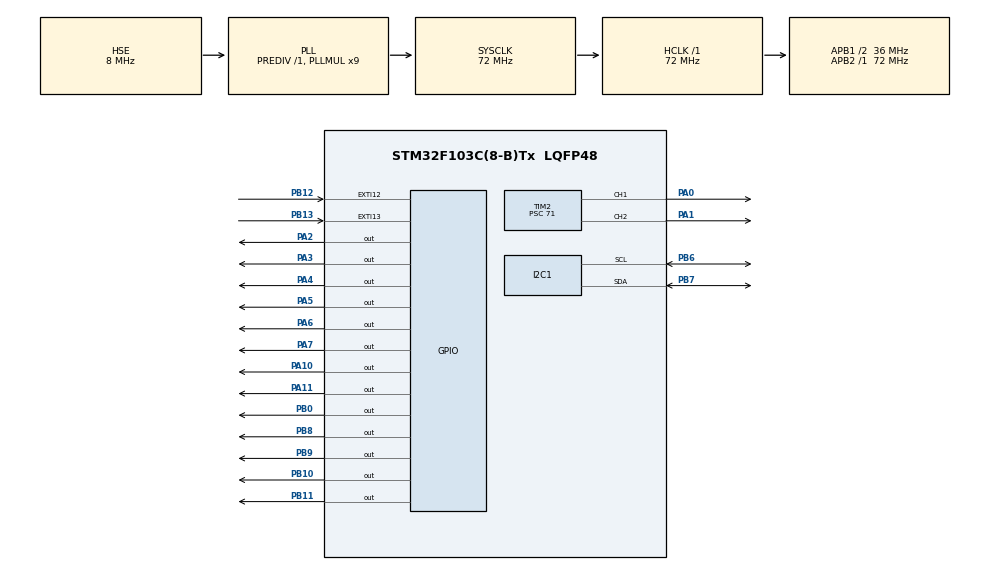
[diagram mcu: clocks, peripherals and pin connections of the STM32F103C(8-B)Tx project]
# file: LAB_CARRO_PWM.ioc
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Mcu.Family=STM32F1
Mcu.Name=STM32F103C(8-B)Tx
Mcu.Package=LQFP48
NVIC.EXTI15_10_IRQn=true\:0\:0\:false\:false\:true\:true\:true\:true
NVIC.PriorityGroup=NVIC_PRIORITYGROUP_4
PA0-WKUP.Signal=S_TIM2_CH1_ETR
PA1.Signal=S_TIM2_CH2
PA10.Signal=GPIO_Output
PA11.Signal=GPIO_Output
PA13.Mode=Serial_Wire
PA13.Signal=SYS_JTMS-SWDIO
PA14.Mode=Serial_Wire
PA14.Signal=SYS_JTCK-SWCLK
PA2.Signal=GPIO_Output
PA3.Signal=GPIO_Output
PA4.Signal=GPIO_Output
PA5.Signal=GPIO_Output
PA6.Signal=GPIO_Output
PA7.Signal=GPIO_Output
PB0.Signal=GPIO_Output
PB10.Signal=GPIO_Output
PB11.Signal=GPIO_Output
PB12.Signal=GPXTI12
PB13.Signal=GPXTI13
PB6.Mode=I2C
PB6.Signal=I2C1_SCL
PB7.Mode=I2C
PB7.Signal=I2C1_SDA
PB8.Signal=GPIO_Output
PB9.Signal=GPIO_Output
PD0-OSC_IN.Mode=HSE-External-Oscillator
PD0-OSC_IN.Signal=RCC_OSC_IN
PD1-OSC_OUT.Mode=HSE-External-Oscillator
PD1-OSC_OUT.Signal=RCC_OSC_OUT
ProjectManager.HeapSize=0x200
ProjectManager.StackSize=0x400
ProjectManager.TargetToolchain=STM32CubeIDE
RCC.AHBFreq_Value=72000000
RCC.APB1CLKDivider=RCC_HCLK_DIV2
RCC.APB1Freq_Value=36000000
RCC.APB1TimFreq_Value=72000000
RCC.APB2Freq_Value=72000000
RCC.APB2TimFreq_Value=72000000
RCC.HCLKFreq_Value=72000000
RCC.PLLMUL=RCC_PLL_MUL9
RCC.PLLSourceVirtual=RCC_PLLSOURCE_HSE
RCC.SYSCLKFreq_VALUE=72000000
RCC.SYSCLKSource=RCC_SYSCLKSOURCE_PLLCLK
RCC.USBFreq_Value=72000000
SH.S_TIM2_CH1_ETR.0=TIM2_CH1,PWM Generation1 CH1
SH.S_TIM2_CH2.0=TIM2_CH2,PWM Generation2 CH2
TIM2.Channel-PWM\ Generation1\ CH1=TIM_CHANNEL_1
TIM2.Channel-PWM\ Generation2\ CH2=TIM_CHANNEL_2
TIM2.Period=799
TIM2.Prescaler=71
VP_TIM2_VS_ClockSourceINT.Mode=Internal
board=custom

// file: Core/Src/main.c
/* USER CODE BEGIN Header */
/**
  ******************************************************************************
  * @file           : main.c
  * @brief          : Navegador autónomo de polígonos regulares
  *                   Avance por ENCODER + corrección MPU + Giro MPU
  *                   ANTICIPO ajustado para 90° exactos.
  *                   Encoder verifica el giro como sanity check.
  * Microcontrolador: STM32F103C8T6 @ 72 MHz
  ******************************************************************************
  */
/* USER CODE END Header */

#include "main.h"

/* USER CODE BEGIN Includes */
#include <stdio.h>
#include <string.h>
#include <math.h>
/* USER CODE END Includes */

/* USER CODE BEGIN PD */
// ============================================================================
// ★★★ PARÁMETROS CONFIGURABLES ★★★
// ============================================================================
#define N_LADOS          3          /* 3=triángulo, 4=cuadrado, 5=pentágono */
#define DISTANCIA_CM     50.0f      /* Longitud de cada lado en cm */
#define N_VUELTAS        2          /* Repeticiones del polígono */

// ============================================================================
// CALIBRACIÓN DEL ENCODER  →  ¡AJUSTAR ESTA LÍNEA!
// ============================================================================
// Pulsos que cuenta una rueda por cada centímetro recorrido.
// Calibración: corre el robot 1 vez. En la LCD verás "Pulsos: NNN" al terminar.
// Luego:  PULSOS_POR_CM = pulsos_contados / DISTANCIA_CM
#define PULSOS_POR_CM    2.0f

// ============================================================================
// PARÁMETROS INTERNOS
// ============================================================================
#define ANGULO_GIRO      (360.0f / (float)N_LADOS)

// --- Avance ---
#define VELOCIDAD_BASE   500
#define MAX_PWM          799
#define RAMPA_PASO_PWM   25
#define PAUSA_ENTRE_ACCIONES_MS  300U

// --- Corrección de rumbo durante el avance (MPU) ---
#define KP_LINEA_RECTA       3.0f
#define CORRECCION_MAX       80

// --- Safety: si el encoder no cuenta nada, salir por tiempo ---
#define TIMEOUT_AVANCE_FACTOR  1.5f
#define MS_POR_CM_REF          40U

// --- Giro (ambas ruedas opuestas + kick) ---
#define PWM_GIRO         240
#define PWM_GIRO_KICK    350
#define MS_GIRO_KICK     80U
#define ANTICIPO_GIRO_DEG 3.0f
#define TIMEOUT_GIRO_MS  5000U

// --- Verificación del giro con encoder ---
#define MIN_PULSOS_GIRO  8

// --- MPU6050 ---
#define MPU6050_ADDR            (0x68 << 1)
#define MPU6050_REG_WHOAMI      0x75
#define MPU6050_REG_PWR_MGMT1   0x6B
#define MPU6050_REG_CONFIG      0x1A
#define MPU6050_REG_GYRO_CFG    0x1B
#define MPU6050_REG_GYRO_ZOUT_H 0x47
#define GYRO_SENS_131           131.0f

#define LCD_REFRESH_MS   250U
/* USER CODE END PD */

I2C_HandleTypeDef hi2c1;
TIM_HandleTypeDef htim2;

/* USER CODE BEGIN PV */
// Encoders
volatile int32_t enc_izq = 0;
volatile int32_t enc_der = 0;

// MPU
float gyro_z_offset     = 0.0f;
float yaw_actual        = 0.0f;
uint32_t ultimo_tiempo_imu = 0;
uint8_t mpu_ok          = 0;

static int pwm_actual_izq = 0;
static int pwm_actual_der = 0;

// Bandera de fallo del giro (para reportar en LCD)
uint8_t giro_fallo_encoder = 0;
/* USER CODE END PV */

void SystemClock_Config(void);
static void MX_GPIO_Init(void);
static void MX_TIM2_Init(void);
static void MX_I2C1_Init(void);

/* USER CODE BEGIN PFP */
void LCD_Init(void);
void LCD_SendCommand(uint8_t cmd);
void LCD_SendData(uint8_t data);
void LCD_SetCursor(uint8_t row, uint8_t col);
void LCD_PrintString(char *str);
void LCD_Clear(void);

static int  Acercar_Valor(int actual, int objetivo, int paso);
static void Motores_SetRaw(int izq, int der);
static void Motores_AplicarConRampa(int izq, int der);
void Motores_Frenar(void);

uint8_t MPU6050_Init(void);
void    MPU6050_Calibrar(void);
void    MPU6050_ActualizarYaw(void);

void Avanzar_Distancia(float cm);
void Girar_Grados(float angulo_deg);
/* USER CODE END PFP */

/* USER CODE BEGIN 0 */

// ============================================================================
// 1. DRIVER LCD 16x2
// ============================================================================
static void LCD_EnablePulse(void)
{
    HAL_GPIO_WritePin(GPIOA, GPIO_PIN_11, GPIO_PIN_SET);
    for (volatile int i = 0; i < 200; i++);
    HAL_GPIO_WritePin(GPIOA, GPIO_PIN_11, GPIO_PIN_RESET);
    for (volatile int i = 0; i < 200; i++);
}

static void LCD_Write4Bits(uint8_t value)
{
    HAL_GPIO_WritePin(GPIOB, GPIO_PIN_8,  (value & 0x01) ? GPIO_PIN_SET : GPIO_PIN_RESET);
    HAL_GPIO_WritePin(GPIOB, GPIO_PIN_9,  (value & 0x02) ? GPIO_PIN_SET : GPIO_PIN_RESET);
    HAL_GPIO_WritePin(GPIOB, GPIO_PIN_10, (value & 0x04) ? GPIO_PIN_SET : GPIO_PIN_RESET);
    HAL_GPIO_WritePin(GPIOB, GPIO_PIN_11, (value & 0x08) ? GPIO_PIN_SET : GPIO_PIN_RESET);
    LCD_EnablePulse();
}

static void LCD_WriteByte(uint8_t value, uint8_t isData)
{
    HAL_GPIO_WritePin(GPIOA, GPIO_PIN_10, isData ? GPIO_PIN_SET : GPIO_PIN_RESET);
    LCD_Write4Bits(value >> 4);
    LCD_Write4Bits(value & 0x0F);
}

void LCD_SendCommand(uint8_t cmd) { LCD_WriteByte(cmd, 0); }
void LCD_SendData(uint8_t data)  { LCD_WriteByte(data, 1); }

void LCD_Init(void)
{
    HAL_Delay(200);
    HAL_GPIO_WritePin(GPIOA, GPIO_PIN_10, GPIO_PIN_RESET);
    HAL_GPIO_WritePin(GPIOA, GPIO_PIN_11, GPIO_PIN_RESET);
    HAL_Delay(50);

    LCD_Write4Bits(0x03); HAL_Delay(15);
    LCD_Write4Bits(0x03); HAL_Delay(15);
    LCD_Write4Bits(0x03); HAL_Delay(15);
    LCD_Write4Bits(0x02); HAL_Delay(15);

    LCD_SendCommand(0x28); HAL_Delay(10);
    LCD_SendCommand(0x28); HAL_Delay(10);
    LCD_SendCommand(0x08); HAL_Delay(10);
    LCD_SendCommand(0x01); HAL_Delay(15);
    LCD_SendCommand(0x06); HAL_Delay(10);
    LCD_SendCommand(0x0C); HAL_Delay(10);
}

void LCD_Clear(void) { LCD_SendCommand(0x01); HAL_Delay(10); }

void LCD_SetCursor(uint8_t row, uint8_t col)
{
    uint8_t addr = (row == 0) ? (0x80 | col) : (0xC0 | col);
    LCD_SendCommand(addr);
}

void LCD_PrintString(char *str)
{
    while (*str) { LCD_SendData((uint8_t)(*str)); str++; }
}

// ============================================================================
// 2. MOTORES
// ============================================================================
static void Motores_SetRaw(int izq, int der)
{
    if (izq >  MAX_PWM) izq =  MAX_PWM;
    if (izq < -MAX_PWM) izq = -MAX_PWM;
    if (der >  MAX_PWM) der =  MAX_PWM;
    if (der < -MAX_PWM) der = -MAX_PWM;

    HAL_GPIO_WritePin(GPIOB, GPIO_PIN_0, GPIO_PIN_SET);

    int i = izq;
    if (i >= 0)
    {
        HAL_GPIO_WritePin(GPIOA, GPIO_PIN_4, GPIO_PIN_SET);
        HAL_GPIO_WritePin(GPIOA, GPIO_PIN_5, GPIO_PIN_RESET);
    }
    else
    {
        HAL_GPIO_WritePin(GPIOA, GPIO_PIN_4, GPIO_PIN_RESET);
        HAL_GPIO_WritePin(GPIOA, GPIO_PIN_5, GPIO_PIN_SET);
        i = -i;
    }

    int d = der;
    if (d >= 0)
    {
        HAL_GPIO_WritePin(GPIOA, GPIO_PIN_6, GPIO_PIN_RESET);
        HAL_GPIO_WritePin(GPIOA, GPIO_PIN_7, GPIO_PIN_SET);
    }
    else
    {
        HAL_GPIO_WritePin(GPIOA, GPIO_PIN_6, GPIO_PIN_SET);
        HAL_GPIO_WritePin(GPIOA, GPIO_PIN_7, GPIO_PIN_RESET);
        d = -d;
    }

    __HAL_TIM_SET_COMPARE(&htim2, TIM_CHANNEL_1, i);
    __HAL_TIM_SET_COMPARE(&htim2, TIM_CHANNEL_2, d);
}

void Motores_Frenar(void)
{
    HAL_GPIO_WritePin(GPIOA, GPIO_PIN_4, GPIO_PIN_SET);
    HAL_GPIO_WritePin(GPIOA, GPIO_PIN_5, GPIO_PIN_SET);
    HAL_GPIO_WritePin(GPIOA, GPIO_PIN_6, GPIO_PIN_SET);
    HAL_GPIO_WritePin(GPIOA, GPIO_PIN_7, GPIO_PIN_SET);

    __HAL_TIM_SET_COMPARE(&htim2, TIM_CHANNEL_1, 0);
    __HAL_TIM_SET_COMPARE(&htim2, TIM_CHANNEL_2, 0);

    pwm_actual_izq = 0;
    pwm_actual_der = 0;
}

static int Acercar_Valor(int actual, int objetivo, int paso)
{
    if (actual < objetivo) { actual += paso; if (actual > objetivo) actual = objetivo; }
    else if (actual > objetivo) { actual -= paso; if (actual < objetivo) actual = objetivo; }
    return actual;
}

static void Motores_AplicarConRampa(int izq_obj, int der_obj)
{
    pwm_actual_izq = Acercar_Valor(pwm_actual_izq, izq_obj, RAMPA_PASO_PWM);
    pwm_actual_der = Acercar_Valor(pwm_actual_der, der_obj, RAMPA_PASO_PWM);
    Motores_SetRaw(pwm_actual_izq, pwm_actual_der);
}

// ============================================================================
// 3. INTERRUPCIÓN DE ENCODERS
// ============================================================================
void HAL_GPIO_EXTI_Callback(uint16_t GPIO_Pin)
{
    static uint32_t t_izq = 0, t_der = 0;
    uint32_t ahora = HAL_GetTick();

    if (GPIO_Pin == GPIO_PIN_12)
    {
        if ((ahora - t_izq) >= 3U) { enc_izq++; t_izq = ahora; }
    }
    if (GPIO_Pin == GPIO_PIN_13)
    {
        if ((ahora - t_der) >= 3U) { enc_der++; t_der = ahora; }
    }
}

// ============================================================================
// 4. MPU6050
// ============================================================================
uint8_t MPU6050_Init(void)
{
    uint8_t check = 0, data;
    if (HAL_I2C_Mem_Read(&hi2c1, MPU6050_ADDR, MPU6050_REG_WHOAMI,
                         1, &check, 1, 200) != HAL_OK) return 0;
    if (check != 0x68) return 0;

    data = 0x01;
    HAL_I2C_Mem_Write(&hi2c1, MPU6050_ADDR, MPU6050_REG_PWR_MGMT1, 1, &data, 1, 1000);
    data = 0x03;
    HAL_I2C_Mem_Write(&hi2c1, MPU6050_ADDR, MPU6050_REG_CONFIG, 1, &data, 1, 1000);
    data = 0x00;
    HAL_I2C_Mem_Write(&hi2c1, MPU6050_ADDR, MPU6050_REG_GYRO_CFG, 1, &data, 1, 1000);

    return 1;
}

void MPU6050_Calibrar(void)
{
    int32_t suma_gz = 0;
    uint8_t buffer[2];
    int16_t raw_gz;
    int validas = 0;

    for (int i = 0; i < 500; i++)
    {
        if (HAL_I2C_Mem_Read(&hi2c1, MPU6050_ADDR, MPU6050_REG_GYRO_ZOUT_H,
                             1, buffer, 2, 50) == HAL_OK)
        {
            raw_gz = (int16_t)((buffer[0] << 8) | buffer[1]);
            suma_gz += raw_gz;
            validas++;
        }
        HAL_Delay(4);
    }
    if (validas > 0) gyro_z_offset = (float)suma_gz / (float)validas;
}

void MPU6050_ActualizarYaw(void)
{
    if (!mpu_ok) return;

    uint8_t buffer[2];
    int16_t raw_gz;
    uint32_t ahora = HAL_GetTick();
    float dt = (float)(ahora - ultimo_tiempo_imu) / 1000.0f;
    ultimo_tiempo_imu = ahora;

    if (HAL_I2C_Mem_Read(&hi2c1, MPU6050_ADDR, MPU6050_REG_GYRO_ZOUT_H,
                         1, buffer, 2, 50) == HAL_OK)
    {
        raw_gz = (int16_t)((buffer[0] << 8) | buffer[1]);
        float gz = ((float)raw_gz - gyro_z_offset) / GYRO_SENS_131;
        if (gz > -0.5f && gz < 0.5f) gz = 0.0f;
        yaw_actual += gz * dt;
    }
}

// ============================================================================
// 5. AVANCE — ENCODER + CORRECCIÓN MPU
// ============================================================================
void Avanzar_Distancia(float cm)
{
    pwm_actual_izq = 0;
    pwm_actual_der = 0;
    enc_izq = 0;
    enc_der = 0;
    yaw_actual = 0.0f;
    ultimo_tiempo_imu = HAL_GetTick();

    int32_t pulsos_objetivo = (int32_t)(cm * PULSOS_POR_CM + 0.5f);
    uint32_t tiempo_max_ms = (uint32_t)(cm * (float)MS_POR_CM_REF * TIMEOUT_AVANCE_FACTOR);
    uint32_t t0 = HAL_GetTick();

    while (1)
    {
        uint32_t transcurrido = HAL_GetTick() - t0;

        int32_t promedio = (enc_izq + enc_der) / 2;
        if (promedio >= pulsos_objetivo) break;
        if (transcurrido > tiempo_max_ms) break;

        MPU6050_ActualizarYaw();

        float error = 0.0f - yaw_actual;
        float correccion = error * KP_LINEA_RECTA;
        if (correccion >  (float)CORRECCION_MAX) correccion =  (float)CORRECCION_MAX;
        if (correccion < -(float)CORRECCION_MAX) correccion = -(float)CORRECCION_MAX;

        int pwm_izq_obj = VELOCIDAD_BASE - (int)correccion;
        int pwm_der_obj = VELOCIDAD_BASE + (int)correccion;

        Motores_AplicarConRampa(pwm_izq_obj, pwm_der_obj);
        HAL_Delay(10);
    }

    Motores_Frenar();
    HAL_Delay(PAUSA_ENTRE_ACCIONES_MS);
}

// ============================================================================
// 6. GIRO — AMBAS RUEDAS OPUESTAS + KICK + VERIFICACIÓN CON ENCODER
// ============================================================================
void Girar_Grados(float angulo_deg)
{
    yaw_actual = 0.0f;
    ultimo_tiempo_imu = HAL_GetTick();
    pwm_actual_izq = 0;
    pwm_actual_der = 0;

    // Reset de encoders para medir cuánto giraron las ruedas
    enc_izq = 0;
    enc_der = 0;

    float angulo_destino = -angulo_deg;
    uint32_t t0 = HAL_GetTick();

    // Kick inicial: ambos motores arrancan al mismo tiempo
    Motores_SetRaw(PWM_GIRO_KICK, -PWM_GIRO_KICK);
    HAL_Delay(MS_GIRO_KICK);

    while (yaw_actual > (angulo_destino + ANTICIPO_GIRO_DEG))
    {
        if ((HAL_GetTick() - t0) > TIMEOUT_GIRO_MS) break;

        MPU6050_ActualizarYaw();
        Motores_SetRaw(PWM_GIRO, -PWM_GIRO);
        HAL_Delay(10);
    }

    Motores_Frenar();
    HAL_Delay(PAUSA_ENTRE_ACCIONES_MS);
}
/* USER CODE END 0 */

// ============================================================================
// MAIN
// ============================================================================
int main(void)
{
  HAL_Init();
  SystemClock_Config();

  MX_GPIO_Init();
  MX_TIM2_Init();
  MX_I2C1_Init();

  /* USER CODE BEGIN 2 */
  HAL_TIM_PWM_Start(&htim2, TIM_CHANNEL_1);
  HAL_TIM_PWM_Start(&htim2, TIM_CHANNEL_2);

  Motores_Frenar();
  HAL_Delay(500);

  LCD_Init();
  LCD_Clear();
  LCD_SetCursor(0, 0); LCD_PrintString("Poligono + Enc");
  LCD_SetCursor(1, 0); LCD_PrintString("Iniciando...");
  HAL_Delay(2000);

  LCD_Clear();
  LCD_SetCursor(0, 0); LCD_PrintString("Init MPU6050");

  mpu_ok = MPU6050_Init();

  if (!mpu_ok)
  {
      LCD_SetCursor(1, 0); LCD_PrintString("NO detectado!");
      HAL_Delay(2500);
  }
  else
  {
      LCD_SetCursor(1, 0); LCD_PrintString("Calibrando...");
      HAL_Delay(2500);
      MPU6050_Calibrar();
      HAL_Delay(500);
  }

  LCD_Clear();
  LCD_SetCursor(0, 0); LCD_PrintString("Iniciando en");
  for (int i = 3; i > 0; i--)
  {
      char buf[6];
      snprintf(buf, sizeof(buf), "%d...", i);
      LCD_SetCursor(1, 0); LCD_PrintString(buf);
      HAL_Delay(1000);
  }
  LCD_Clear();

  uint32_t total_pasos = (uint32_t)N_LADOS * (uint32_t)N_VUELTAS;

  for (uint32_t paso = 0; paso < total_pasos; paso++)
  {
      char l1[17], l2[17];
      int vuelta_actual = (int)(paso / (uint32_t)N_LADOS) + 1;
      int lado_actual   = (int)(paso % (uint32_t)N_LADOS) + 1;
      snprintf(l1, sizeof(l1), "Vuelta %d/%d", vuelta_actual, N_VUELTAS);
      snprintf(l2, sizeof(l2), "Lado   %d/%d", lado_actual,   N_LADOS);
      LCD_SetCursor(0, 0); LCD_PrintString(l1);
      LCD_SetCursor(1, 0); LCD_PrintString(l2);

      // Avanza por encoder
      Avanzar_Distancia(DISTANCIA_CM);

      // Muestra el conteo de pulsos del tramo (para calibrar)
      snprintf(l1, sizeof(l1), "Pulsos: %ld", (long)((enc_izq + enc_der) / 2));
      LCD_SetCursor(0, 0); LCD_PrintString(l1);

      // Gira solo si no es el último paso
      if (paso < (total_pasos - 1))
      {
          // Guardamos los encoders antes del giro para verificar después
          int32_t enc_izq_antes = enc_izq;
          int32_t enc_der_antes = enc_der;

          Girar_Grados(ANGULO_GIRO);

          // Verificación: ¿ambas ruedas giraron?
          int32_t d_izq = enc_izq - enc_izq_antes;
          int32_t d_der = enc_der - enc_der_antes;
          if (d_izq < MIN_PULSOS_GIRO || d_der < MIN_PULSOS_GIRO)
          {
              giro_fallo_encoder = 1;
              snprintf(l2, sizeof(l2), "Giro fallo !");
              LCD_SetCursor(1, 0); LCD_PrintString(l2);
              HAL_Delay(800);
          }
      }
  }

  Motores_Frenar();

  LCD_Clear();
  LCD_SetCursor(0, 0);
  LCD_PrintString("Recorrido");

  LCD_SetCursor(1, 0);
  if (giro_fallo_encoder)
  {
      LCD_PrintString("Rev. giros !");
  }
  else
  {
      LCD_PrintString("Completado!");
  }
  /* USER CODE END 2 */

  while (1)
  {
  }
}

// ============================================================================
// CONFIGURACIÓN DE PERIFÉRICOS
// ============================================================================
void SystemClock_Config(void)
{
  RCC_OscInitTypeDef RCC_OscInitStruct = {0};
  RCC_ClkInitTypeDef RCC_ClkInitStruct = {0};

  RCC_OscInitStruct.OscillatorType = RCC_OSCILLATORTYPE_HSE;
  RCC_OscInitStruct.HSEState = RCC_HSE_ON;
  RCC_OscInitStruct.HSEPredivValue = RCC_HSE_PREDIV_DIV1;
  RCC_OscInitStruct.HSIState = RCC_HSI_ON;
  RCC_OscInitStruct.PLL.PLLState = RCC_PLL_ON;
  RCC_OscInitStruct.PLL.PLLSource = RCC_PLLSOURCE_HSE;
  RCC_OscInitStruct.PLL.PLLMUL = RCC_PLL_MUL9;
  if (HAL_RCC_OscConfig(&RCC_OscInitStruct) != HAL_OK) Error_Handler();

  RCC_ClkInitStruct.ClockType = RCC_CLOCKTYPE_HCLK|RCC_CLOCKTYPE_SYSCLK
                              |RCC_CLOCKTYPE_PCLK1|RCC_CLOCKTYPE_PCLK2;
  RCC_ClkInitStruct.SYSCLKSource = RCC_SYSCLKSOURCE_PLLCLK;
  RCC_ClkInitStruct.AHBCLKDivider = RCC_SYSCLK_DIV1;
  RCC_ClkInitStruct.APB1CLKDivider = RCC_HCLK_DIV2;
  RCC_ClkInitStruct.APB2CLKDivider = RCC_HCLK_DIV1;

  if (HAL_RCC_ClockConfig(&RCC_ClkInitStruct, FLASH_LATENCY_2) != HAL_OK) Error_Handler();
}

static void MX_I2C1_Init(void)
{
  hi2c1.Instance = I2C1;
  hi2c1.Init.ClockSpeed = 100000;
  hi2c1.Init.DutyCycle = I2C_DUTYCYCLE_2;
  hi2c1.Init.OwnAddress1 = 0;
  hi2c1.Init.AddressingMode = I2C_ADDRESSINGMODE_7BIT;
  hi2c1.Init.DualAddressMode = I2C_DUALADDRESS_DISABLE;
  hi2c1.Init.OwnAddress2 = 0;
  hi2c1.Init.GeneralCallMode = I2C_GENERALCALL_DISABLE;
  hi2c1.Init.NoStretchMode = I2C_NOSTRETCH_DISABLE;
  if (HAL_I2C_Init(&hi2c1) != HAL_OK) Error_Handler();
}

static void MX_TIM2_Init(void)
{
  TIM_ClockConfigTypeDef sClockSourceConfig = {0};
  TIM_MasterConfigTypeDef sMasterConfig = {0};
  TIM_OC_InitTypeDef sConfigOC = {0};

  htim2.Instance = TIM2;
  htim2.Init.Prescaler = 71;
  htim2.Init.CounterMode = TIM_COUNTERMODE_UP;
  htim2.Init.Period = 799;
  htim2.Init.ClockDivision = TIM_CLOCKDIVISION_DIV1;
  htim2.Init.AutoReloadPreload = TIM_AUTORELOAD_PRELOAD_DISABLE;
  if (HAL_TIM_Base_Init(&htim2) != HAL_OK) Error_Handler();

  sClockSourceConfig.ClockSource = TIM_CLOCKSOURCE_INTERNAL;
  if (HAL_TIM_ConfigClockSource(&htim2, &sClockSourceConfig) != HAL_OK) Error_Handler();
  if (HAL_TIM_PWM_Init(&htim2) != HAL_OK) Error_Handler();

  sMasterConfig.MasterOutputTrigger = TIM_TRGO_RESET;
  sMasterConfig.MasterSlaveMode = TIM_MASTERSLAVEMODE_DISABLE;
  if (HAL_TIMEx_MasterConfigSynchronization(&htim2, &sMasterConfig) != HAL_OK) Error_Handler();

  sConfigOC.OCMode = TIM_OCMODE_PWM1;
  sConfigOC.Pulse = 0;
  sConfigOC.OCPolarity = TIM_OCPOLARITY_HIGH;
  sConfigOC.OCFastMode = TIM_OCFAST_DISABLE;
  if (HAL_TIM_PWM_ConfigChannel(&htim2, &sConfigOC, TIM_CHANNEL_1) != HAL_OK) Error_Handler();
  if (HAL_TIM_PWM_ConfigChannel(&htim2, &sConfigOC, TIM_CHANNEL_2) != HAL_OK) Error_Handler();
  HAL_TIM_MspPostInit(&htim2);
}

static void MX_GPIO_Init(void)
{
  GPIO_InitTypeDef GPIO_InitStruct = {0};

  __HAL_RCC_GPIOD_CLK_ENABLE();
  __HAL_RCC_GPIOA_CLK_ENABLE();
  __HAL_RCC_GPIOB_CLK_ENABLE();

  HAL_GPIO_WritePin(GPIOA, GPIO_PIN_2|GPIO_PIN_3|GPIO_PIN_4|GPIO_PIN_5
                          |GPIO_PIN_6|GPIO_PIN_7|GPIO_PIN_10|GPIO_PIN_11, GPIO_PIN_RESET);

  HAL_GPIO_WritePin(GPIOB, GPIO_PIN_0|GPIO_PIN_10|GPIO_PIN_11|GPIO_PIN_8
                          |GPIO_PIN_9, GPIO_PIN_RESET);

  GPIO_InitStruct.Pin = GPIO_PIN_2|GPIO_PIN_3|GPIO_PIN_4|GPIO_PIN_5
                          |GPIO_PIN_6|GPIO_PIN_7|GPIO_PIN_10|GPIO_PIN_11;
  GPIO_InitStruct.Mode = GPIO_MODE_OUTPUT_PP;
  GPIO_InitStruct.Pull = GPIO_NOPULL;
  GPIO_InitStruct.Speed = GPIO_SPEED_FREQ_LOW;
  HAL_GPIO_Init(GPIOA, &GPIO_InitStruct);

  GPIO_InitStruct.Pin = GPIO_PIN_0|GPIO_PIN_10|GPIO_PIN_11|GPIO_PIN_8
                          |GPIO_PIN_9;
  GPIO_InitStruct.Mode = GPIO_MODE_OUTPUT_PP;
  GPIO_InitStruct.Pull = GPIO_NOPULL;
  GPIO_InitStruct.Speed = GPIO_SPEED_FREQ_LOW;
  HAL_GPIO_Init(GPIOB, &GPIO_InitStruct);

  GPIO_InitStruct.Pin = GPIO_PIN_12|GPIO_PIN_13;
  GPIO_InitStruct.Mode = GPIO_MODE_IT_RISING;
  GPIO_InitStruct.Pull = GPIO_NOPULL;
  HAL_GPIO_Init(GPIOB, &GPIO_InitStruct);

  HAL_NVIC_SetPriority(EXTI15_10_IRQn, 0, 0);
  HAL_NVIC_EnableIRQ(EXTI15_10_IRQn);
}

void Error_Handler(void)
{
  __disable_irq();
  while (1) { }
}
